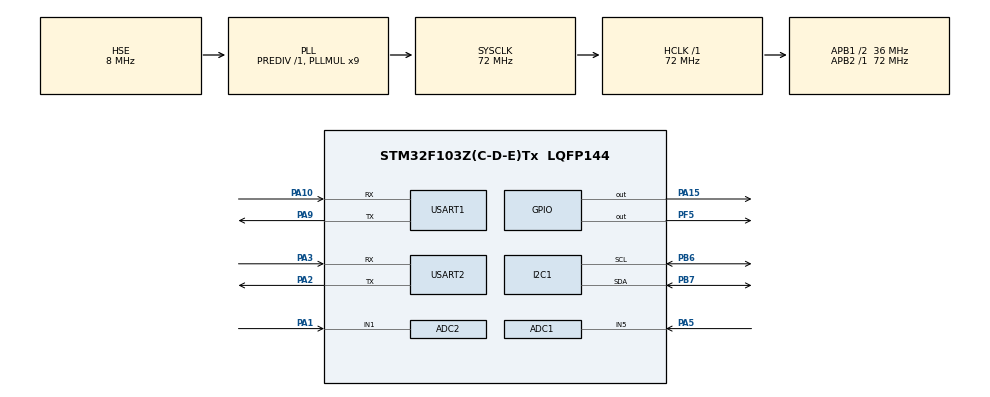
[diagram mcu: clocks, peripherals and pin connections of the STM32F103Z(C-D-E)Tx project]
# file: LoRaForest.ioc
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ADC1.Channel-0\#ChannelRegularConversion=ADC_CHANNEL_5
ADC1.ContinuousConvMode=ENABLE
ADC1.NbrOfConversionFlag=1
ADC1.Rank-0\#ChannelRegularConversion=1
ADC1.SamplingTime-0\#ChannelRegularConversion=ADC_SAMPLETIME_239CYCLES_5
ADC1.master=1
ADC2.Channel-0\#ChannelRegularConversion=ADC_CHANNEL_1
ADC2.ContinuousConvMode=ENABLE
ADC2.NbrOfConversionFlag=1
ADC2.Rank-0\#ChannelRegularConversion=1
ADC2.SamplingTime-0\#ChannelRegularConversion=ADC_SAMPLETIME_239CYCLES_5
FREERTOS.Queues01=LoRAMsgQueue,10,30,1,Dynamic,NULL,NULL
FREERTOS.Tasks01=DHT11Task,25,128,StartDHT11Task,Default,NULL,Dynamic,NULL,NULL;LightTask,24,128,StartLightTask,Default,NULL,Dynamic,NULL,NULL;SendMassage,32,128,StartSendMassageTask,Default,NULL,Dynamic,NULL,NULL;RainTask,26,128,StartRainTask,Default,NULL,Dynamic,NULL,NULL;pressureTask,8,128,StartpressureTask,Default,NULL,Dynamic,NULL,NULL
FREERTOS.configTOTAL_HEAP_SIZE=4096
Mcu.Family=STM32F1
Mcu.Name=STM32F103Z(C-D-E)Tx
Mcu.Package=LQFP144
NVIC.PriorityGroup=NVIC_PRIORITYGROUP_4
NVIC.TIM4_IRQn=true\:15\:0\:false\:false\:true\:false\:false\:true\:true
NVIC.TimeBase=TIM4_IRQn
NVIC.TimeBaseIP=TIM4
NVIC.USART1_IRQn=true\:5\:0\:false\:false\:true\:true\:true\:true\:true
OSC_IN.Mode=HSE-External-Oscillator
OSC_IN.Signal=RCC_OSC_IN
OSC_OUT.Mode=HSE-External-Oscillator
OSC_OUT.Signal=RCC_OSC_OUT
PA1.Signal=ADCx_IN1
PA10.Mode=Asynchronous
PA10.Signal=USART1_RX
PA13.Mode=Serial_Wire
PA13.Signal=SYS_JTMS-SWDIO
PA14.Mode=Serial_Wire
PA14.Signal=SYS_JTCK-SWCLK
PA15.GPIO_ModeDefaultOutputPP=GPIO_MODE_OUTPUT_PP
PA15.GPIO_PuPd=GPIO_PULLUP
PA15.PinState=GPIO_PIN_SET
PA15.Signal=GPIO_Output
PA2.Mode=Asynchronous
PA2.Signal=USART2_TX
PA3.Mode=Asynchronous
PA3.Signal=USART2_RX
PA5.Signal=ADCx_IN5
PA9.Mode=Asynchronous
PA9.Signal=USART1_TX
PB6.Mode=I2C
PB6.Signal=I2C1_SCL
PB7.Mode=I2C
PB7.Signal=I2C1_SDA
PF5.GPIO_PuPd=GPIO_PULLUP
PF5.Signal=GPIO_Output
ProjectManager.HeapSize=0x200
ProjectManager.StackSize=0x400
ProjectManager.TargetToolchain=CMake
RCC.ADCPresc=RCC_ADCPCLK2_DIV6
RCC.AHBFreq_Value=72000000
RCC.APB1CLKDivider=RCC_HCLK_DIV2
RCC.APB1Freq_Value=36000000
RCC.APB1TimFreq_Value=72000000
RCC.APB2Freq_Value=72000000
RCC.APB2TimFreq_Value=72000000
RCC.HCLKFreq_Value=72000000
RCC.PLLMUL=RCC_PLL_MUL9
RCC.PLLSourceVirtual=RCC_PLLSOURCE_HSE
RCC.SYSCLKFreq_VALUE=72000000
RCC.SYSCLKSource=RCC_SYSCLKSOURCE_PLLCLK
RCC.USBFreq_Value=72000000
SH.ADCx_IN1.0=ADC2_IN1,IN1
SH.ADCx_IN5.0=ADC1_IN5,IN5
TIM2.Prescaler=72-1
USART1.VirtualMode=VM_ASYNC
USART2.VirtualMode=VM_ASYNC
VP_FREERTOS_VS_CMSIS_V2.Mode=CMSIS_V2
VP_SYS_VS_tim4.Mode=TIM4
VP_TIM2_VS_ClockSourceINT.Mode=Internal
board=custom

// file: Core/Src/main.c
/* USER CODE BEGIN Header */
/**
  ******************************************************************************
  * @file           : main.c
  * @brief          : Main program body
  ******************************************************************************
  * @attention
  *
  * Copyright (c) 2026 STMicroelectronics.
  * All rights reserved.
  *
  * This software is licensed under terms that can be found in the LICENSE file
  * in the root directory of this software component.
  * If no LICENSE file comes with this software, it is provided AS-IS.
  *
  ******************************************************************************
  */
/* USER CODE END Header */
#include "main.h"
#include "cmsis_os.h"
#include "adc.h"
#include "i2c.h"
#include "stm32f1xx_hal_uart.h"
#include "tim.h"
#include "usart.h"
#include "gpio.h"

void SystemClock_Config(void);
void MX_FREERTOS_Init(void);

int main(void)
{

  /* MCU Configuration--------------------------------------------------------*/

  /* Reset of all peripherals, Initializes the Flash interface and the Systick. */
  HAL_Init();

  /* Configure the system clock */
  SystemClock_Config();

  /* Initialize all configured peripherals */
  MX_GPIO_Init();
  MX_TIM2_Init();
  MX_USART1_UART_Init();
  MX_ADC1_Init();
  MX_ADC2_Init();
  MX_I2C1_Init();
  MX_USART2_UART_Init();

  /* Init scheduler */
  osKernelInitialize();  /* Call init function for freertos objects (in cmsis_os2.c) */
  MX_FREERTOS_Init();

  /* Start scheduler */
  osKernelStart();

  /* We should never get here as control is now taken by the scheduler */

  /* Infinite loop */
  while (1)
  {

  //HAL_UART_Transmit(&huart1,"hello\r\n", 5, 1000);
  }
}

void SystemClock_Config(void)
{
  RCC_OscInitTypeDef RCC_OscInitStruct = {0};
  RCC_ClkInitTypeDef RCC_ClkInitStruct = {0};
  RCC_PeriphCLKInitTypeDef PeriphClkInit = {0};

  /** Initializes the RCC Oscillators according to the specified parameters
  * in the RCC_OscInitTypeDef structure.
  */
  RCC_OscInitStruct.OscillatorType = RCC_OSCILLATORTYPE_HSE;
  RCC_OscInitStruct.HSEState = RCC_HSE_ON;
  RCC_OscInitStruct.HSEPredivValue = RCC_HSE_PREDIV_DIV1;
  RCC_OscInitStruct.HSIState = RCC_HSI_ON;
  RCC_OscInitStruct.PLL.PLLState = RCC_PLL_ON;
  RCC_OscInitStruct.PLL.PLLSource = RCC_PLLSOURCE_HSE;
  RCC_OscInitStruct.PLL.PLLMUL = RCC_PLL_MUL9;
  if (HAL_RCC_OscConfig(&RCC_OscInitStruct) != HAL_OK)
  {
    Error_Handler();
  }

  /** Initializes the CPU, AHB and APB buses clocks
  */
  RCC_ClkInitStruct.ClockType = RCC_CLOCKTYPE_HCLK|RCC_CLOCKTYPE_SYSCLK
                              |RCC_CLOCKTYPE_PCLK1|RCC_CLOCKTYPE_PCLK2;
  RCC_ClkInitStruct.SYSCLKSource = RCC_SYSCLKSOURCE_PLLCLK;
  RCC_ClkInitStruct.AHBCLKDivider = RCC_SYSCLK_DIV1;
  RCC_ClkInitStruct.APB1CLKDivider = RCC_HCLK_DIV2;
  RCC_ClkInitStruct.APB2CLKDivider = RCC_HCLK_DIV1;

  if (HAL_RCC_ClockConfig(&RCC_ClkInitStruct, FLASH_LATENCY_2) != HAL_OK)
  {
    Error_Handler();
  }
  PeriphClkInit.PeriphClockSelection = RCC_PERIPHCLK_ADC;
  PeriphClkInit.AdcClockSelection = RCC_ADCPCLK2_DIV6;
  if (HAL_RCCEx_PeriphCLKConfig(&PeriphClkInit) != HAL_OK)
  {
    Error_Handler();
  }
}

void HAL_TIM_PeriodElapsedCallback(TIM_HandleTypeDef *htim)
{
  if (htim->Instance == TIM4)
  {
    HAL_IncTick();
  }
}

void Error_Handler(void)
{
  __disable_irq();
  while (1)
  {
  }
}

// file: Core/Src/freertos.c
/* USER CODE BEGIN Header */
/**
  ******************************************************************************
  * File Name          : freertos.c
  * Description        : Code for freertos applications
  ******************************************************************************
  * @attention
  *
  * Copyright (c) 2026 STMicroelectronics.
  * All rights reserved.
  *
  * This software is licensed under terms that can be found in the LICENSE file
  * in the root directory of this software component.
  * If no LICENSE file comes with this software, it is provided AS-IS.
  *
  ******************************************************************************
  */
/* USER CODE END Header */

#include "FreeRTOS.h"
#include "cmsis_os2.h"
#include "task.h"
#include "main.h"
#include "cmsis_os.h"

/* USER CODE BEGIN Includes */
#include "DHT11.h"
#include "bmp280.h"
#include <stdint.h>
#include <string.h>
#include <stdio.h>
#include <sys/_intsup.h>
#include "stm32f1xx_hal.h"
extern UART_HandleTypeDef huart1;  // 声明外部UART句柄，记得在main.c里定义并初始化它
extern ADC_HandleTypeDef hadc1;      // 声明外部ADC句柄，记得在main.c里定义并初始化它
extern ADC_HandleTypeDef hadc2;
/* USER CODE END Includes */

/* Definitions for DHT11Task */
osThreadId_t DHT11TaskHandle;
const osThreadAttr_t DHT11Task_attributes = {
  .name = "DHT11Task",
  .stack_size = 128 * 4,
  .priority = (osPriority_t) osPriorityNormal1,
};
/* Definitions for LightTask */
osThreadId_t LightTaskHandle;
const osThreadAttr_t LightTask_attributes = {
  .name = "LightTask",
  .stack_size = 128 * 4,
  .priority = (osPriority_t) osPriorityNormal,
};
/* Definitions for SendMassage */
osThreadId_t SendMassageHandle;
const osThreadAttr_t SendMassage_attributes = {
  .name = "SendMassage",
  .stack_size = 128 * 4,
  .priority = (osPriority_t) osPriorityAboveNormal,
};
/* Definitions for RainTask */
osThreadId_t RainTaskHandle;
const osThreadAttr_t RainTask_attributes = {
  .name = "RainTask",
  .stack_size = 128 * 4,
  .priority = (osPriority_t) osPriorityNormal2,
};
/* Definitions for pressureTask */
osThreadId_t pressureTaskHandle;
const osThreadAttr_t pressureTask_attributes = {
  .name = "pressureTask",
  .stack_size = 128 * 4,
  .priority = (osPriority_t) osPriorityLow,
};
/* Definitions for LoRAMsgQueue */
osMessageQueueId_t LoRAMsgQueueHandle;
const osMessageQueueAttr_t LoRAMsgQueue_attributes = {
  .name = "LoRAMsgQueue"
};

void StartDHT11Task(void *argument);
void StartLightTask(void *argument);
void StartSendMassageTask(void *argument);
void StartRainTask(void *argument);
void StartpressureTask(void *argument);

void MX_FREERTOS_Init(void); /* (MISRA C 2004 rule 8.1) */

void MX_FREERTOS_Init(void) {

  /* Create the queue(s) */
  /* creation of LoRAMsgQueue */
  LoRAMsgQueueHandle = osMessageQueueNew (10, 30, &LoRAMsgQueue_attributes);

  /* Create the thread(s) */
  /* creation of DHT11Task */
  DHT11TaskHandle = osThreadNew(StartDHT11Task, NULL, &DHT11Task_attributes);

  /* creation of LightTask */
  LightTaskHandle = osThreadNew(StartLightTask, NULL, &LightTask_attributes);

  /* creation of SendMassage */
  SendMassageHandle = osThreadNew(StartSendMassageTask, NULL, &SendMassage_attributes);

  /* creation of RainTask */
  RainTaskHandle = osThreadNew(StartRainTask, NULL, &RainTask_attributes);

  /* creation of pressureTask */
  pressureTaskHandle = osThreadNew(StartpressureTask, NULL, &pressureTask_attributes);

}

void StartDHT11Task(void *argument)
{
  /* USER CODE BEGIN StartDHT11Task */

  DHT11_DataTypeDef dht11_data;
  char buffer[25];  // 用来存储格式化的字符串，方便打印调试信息
  char buffer1[25];
  uint8_t read_success;  // 标志位，表示读取是否成功

  /* Infinite loop */
  for(;;)
  {

    taskENTER_CRITICAL();   // 进入安全临界区
    read_success = DHT11_Read_Data(&dht11_data);
    taskEXIT_CRITICAL();    // 退出临界区

    if(read_success == 0)  // 读取成功，函数返回0

    {

        // 读取成功！这里可以加打印代码，或者把数据用到其他地方
        sprintf(buffer, "Humidity: %d%%;\r\n", dht11_data.humidity_int);
        sprintf(buffer1,"Temperature: %dC;\r\n", dht11_data.temp_int);
        osMessageQueuePut(LoRAMsgQueueHandle, buffer, 0, osWaitForever);  // 把DHT11数据放到消息队列里，等待发送任务取走发送
        osMessageQueuePut(LoRAMsgQueueHandle, buffer1, 0, osWaitForever);
        //HAL_UART_Transmit(&huart1, (uint8_t*)buffer, strlen(buffer), HAL_MAX_DELAY);

    }

    else
    {

      //HAL_UART_Transmit(&huart1, (uint8_t*)"DHT11 Read Failed!\r\n", 22, HAL_MAX_DELAY);
        // 读取失败，可以加个提示，或者让系统重试
        osMessageQueuePut(LoRAMsgQueueHandle, (uint8_t*)"DHT11 Read Failed!", 0, osWaitForever);  // 把DHT11数据放到消息队列里，等待发送任务取走发送

    }

    osDelay(1000);  // 每隔1秒读取一次，别太频繁了，DHT11需要时间来稳定数据
  }
  /* USER CODE END StartDHT11Task */
}

void StartLightTask(void *argument)
{
  /* USER CODE BEGIN StartLightTask */

  int lightresult = 0;
  char send_buf_light[25];
  HAL_ADC_Start(&hadc1);

  /* Infinite loop */
  for(;;)
  {
    osDelay(500);
    lightresult = HAL_ADC_GetValue(&hadc1);

    sprintf(send_buf_light, "Light: %d;\r\n", lightresult);
    osMessageQueuePut(LoRAMsgQueueHandle, send_buf_light, 0, osWaitForever);  // 把光照强度数据放到消息队列里，等待发送任务取走发送
    //HAL_UART_Transmit(&huart1, (uint8_t*) send_buf_light, strlen(send_buf_light), 20);

  }
  /* USER CODE END StartLightTask */
}

void StartSendMassageTask(void *argument)
{
  /* USER CODE BEGIN StartSendMassageTask */
  static uint8_t send_buf[50];
  /* Infinite loop */
  for(;;)
  {
    osMessageQueueGet(LoRAMsgQueueHandle, send_buf, 0, osWaitForever);
    HAL_UART_Transmit(&huart1, (uint8_t*)send_buf, strlen((char*)send_buf), HAL_MAX_DELAY);  // 从消息队列里取数据发送出去，发送完了就等下一条消息

    osDelay(100);

  }
  /* USER CODE END StartSendMassageTask */
}

void StartRainTask(void *argument)
{
  /* USER CODE BEGIN StartRainTask */

  int rainresult = 0;
  char send_buf_rain[25];
  HAL_ADC_Start(&hadc2);

  /* Infinite loop */
  for(;;)
  {
    //HAL_GPIO_TogglePin(GPIOF, GPIO_PIN_5);
    osDelay(1000);
    rainresult = HAL_ADC_GetValue(&hadc2);

    sprintf(send_buf_rain, "Rain: %d;\r\n", rainresult);
    osMessageQueuePut(LoRAMsgQueueHandle, send_buf_rain, 0, osWaitForever);  // 把雨滴传感器数据放到消息队列里，等待发送任务取走发送
    //HAL_UART_Transmit(&huart1, (uint8_t*) send_buf_rain, strlen(send_buf_rain), 20);

  }
  /* USER CODE END StartRainTask */
}

void StartpressureTask(void *argument)
{
  /* USER CODE BEGIN StartpressureTask */
  uint8_t tx_buffer[25];
  int32_t temp_c;
	int32_t press_pa;
  int len;
  BMP280_Init();
  /* Infinite loop */
  for(;;)
  {
    BMP280_Read(&temp_c, &press_pa);
    if (temp_c >= 0)
    {
      len = snprintf(tx_buffer, sizeof(tx_buffer),
                "Press: %ld.%02ld hPa;\r\n",
                press_pa / 100, press_pa % 100);
    }

	else// 负数：先取绝对值，再手动加负号
    {

      int32_t t_abs = -temp_c;
      len = snprintf(tx_buffer, sizeof(tx_buffer),
              "Press: %ld.%02ld hPa;\r\n",
              press_pa / 100, press_pa % 100);
    }
    osMessageQueuePut(LoRAMsgQueueHandle, tx_buffer, 0, osWaitForever);  // 把BMP280数据放到消息队列里，等待发送任务取走发送
    osDelay(500);
  }
  /* USER CODE END StartpressureTask */
}
